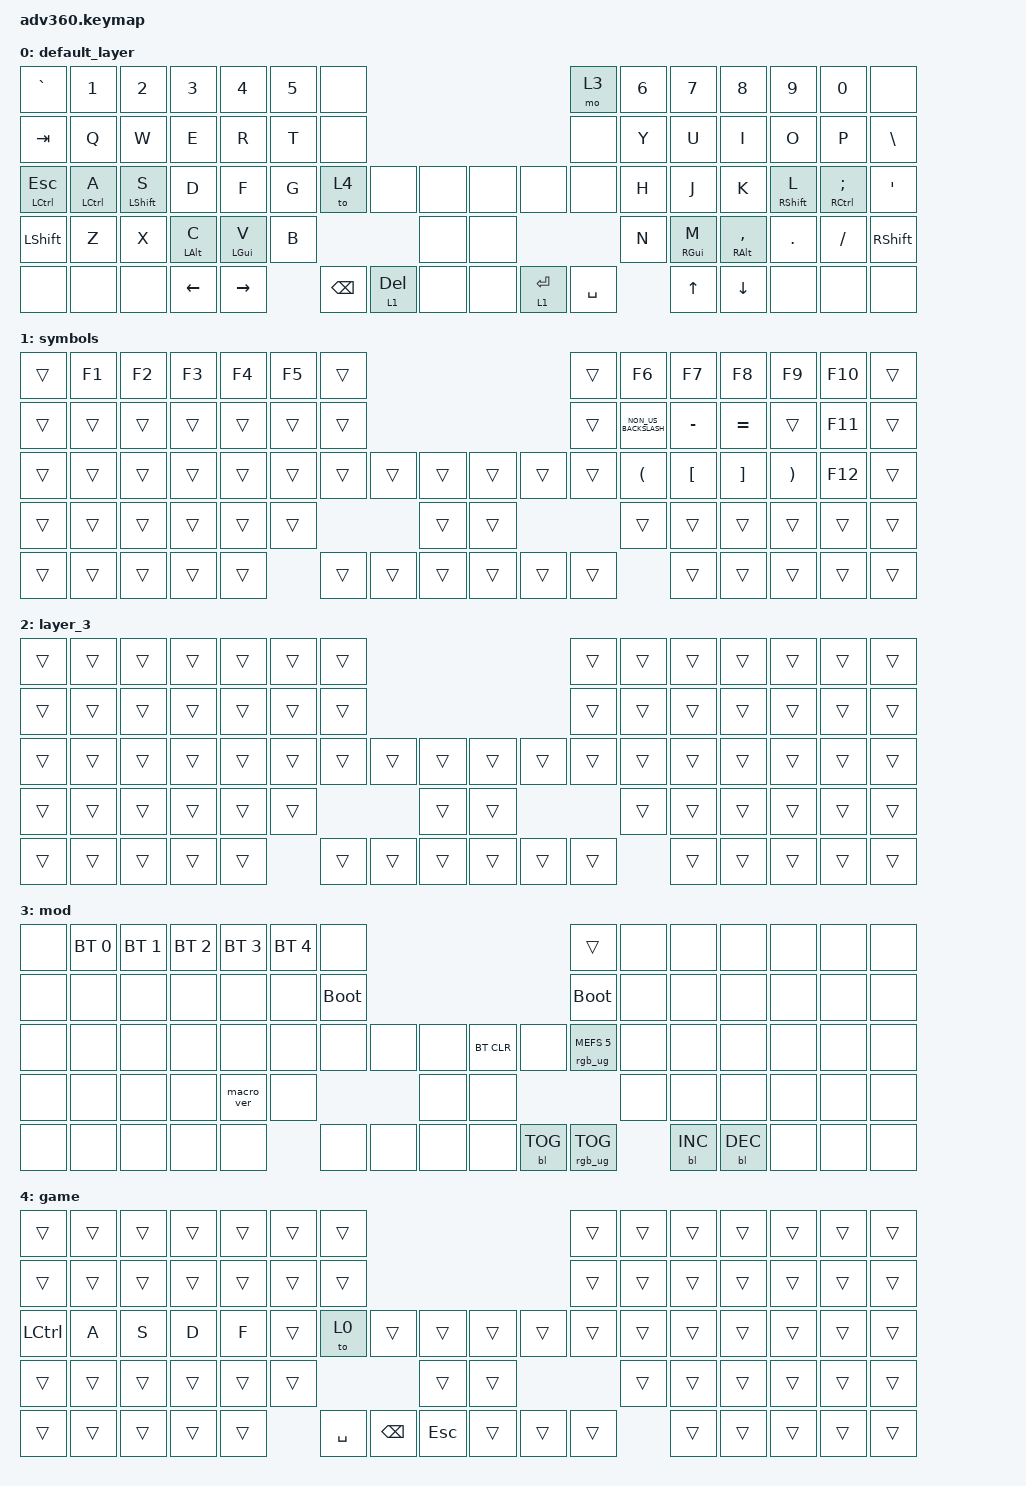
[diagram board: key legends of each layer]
#include <behaviors.dtsi>
#include <dt-bindings/zmk/backlight.h>
#include <dt-bindings/zmk/bt.h>
#include <dt-bindings/zmk/keys.h>
#include <dt-bindings/zmk/rgb.h>

/ {
    behaviors {
        #include "macros.dtsi"
      #include "version.dtsi"
      #ifndef VERSION_MACRO

        macro_ver: macro_ver {
            compatible = "zmk,behavior-macro";
            label = "macro_version";
            #binding-cells = <0>;
            bindings = <&kp RET>;
        };

        #endif

        hm: homerow_mods {
            compatible = "zmk,behavior-hold-tap";
            label = "HOMEROW_MODS";
            #binding-cells = <2>;
            tapping-term-ms = <100>;
            flavor = "tap-preferred";
            bindings = <&kp>, <&kp>;

            quick-tap-ms = <100>;
            require-prior-idle-ms = <100>;
        };

        thumb_layer: thumb_layer {
            compatible = "zmk,behavior-hold-tap";
            label = "THUMB_LAYER";
            bindings = <&mo>, <&kp>;

            #binding-cells = <2>;
            tapping-term-ms = <150>;
            flavor = "tap-preferred";
            quick-tap-ms = <150>;
            require-prior-idle-ms = <125>;
        };
    };

    macros {
    };

    keymap {
        compatible = "zmk,keymap";

        default_layer {
            bindings = <
&kp GRAVE                &kp N1              &kp N2            &kp N3          &kp N4          &kp N5  &none                                                                         &mo 3      &kp N6  &kp N7           &kp N8               &kp N9             &kp N0                  &none
&kp TAB                  &kp Q               &kp W             &kp E           &kp R           &kp T   &none                                                                         &none      &kp Y   &kp U            &kp I                &kp O              &kp P                   &kp BSLH
&mt LEFT_CONTROL ESCAPE  &hm LEFT_CONTROL A  &hm LEFT_SHIFT S  &kp D           &kp F           &kp G   &to 4          &none                  &none      &none  &none                 &none      &kp H   &kp J            &kp K                &hm RIGHT_SHIFT L  &hm RIGHT_CONTROL SEMI  &kp SQT
&kp LSHFT                &kp Z               &kp X             &hm LEFT_ALT C  &hm LEFT_GUI V  &kp B                                         &none      &none                                   &kp N   &hm RIGHT_GUI M  &hm RIGHT_ALT COMMA  &kp DOT            &kp FSLH                &kp RSHFT
&none                    &none               &none             &kp LEFT        &kp RIGHT               &kp BACKSPACE  &thumb_layer 1 DELETE  &none      &none  &thumb_layer 1 ENTER  &kp SPACE          &kp UP           &kp DOWN             &none              &none                   &none
            >;
        };

        symbols {
            bindings = <
&trans  &kp F1  &kp F2  &kp F3  &kp F4  &kp F5  &trans                                      &trans  &kp F6                &kp F7            &kp F8             &kp F9                 &kp F10  &trans
&trans  &trans  &trans  &trans  &trans  &trans  &trans                                      &trans  &kp NON_US_BACKSLASH  &kp MINUS         &kp EQUAL          &trans                 &kp F11  &trans
&trans  &trans  &trans  &trans  &trans  &trans  &trans  &trans  &trans      &trans  &trans  &trans  &kp LEFT_PARENTHESIS  &kp LEFT_BRACKET  &kp RIGHT_BRACKET  &kp RIGHT_PARENTHESIS  &kp F12  &trans
&trans  &trans  &trans  &trans  &trans  &trans                  &trans      &trans                  &trans                &trans            &trans             &trans                 &trans   &trans
&trans  &trans  &trans  &trans  &trans          &trans  &trans  &trans      &trans  &trans  &trans                        &trans            &trans             &trans                 &trans   &trans
            >;
        };

        layer_3 {
            bindings = <
&trans  &trans  &trans  &trans  &trans  &trans  &trans                                      &trans  &trans  &trans  &trans  &trans  &trans  &trans
&trans  &trans  &trans  &trans  &trans  &trans  &trans                                      &trans  &trans  &trans  &trans  &trans  &trans  &trans
&trans  &trans  &trans  &trans  &trans  &trans  &trans  &trans  &trans      &trans  &trans  &trans  &trans  &trans  &trans  &trans  &trans  &trans
&trans  &trans  &trans  &trans  &trans  &trans                  &trans      &trans                  &trans  &trans  &trans  &trans  &trans  &trans
&trans  &trans  &trans  &trans  &trans          &trans  &trans  &trans      &trans  &trans  &trans          &trans  &trans  &trans  &trans  &trans
            >;
        };

        mod {
            bindings = <
&none  &bt BT_SEL 0  &bt BT_SEL 1  &bt BT_SEL 2  &bt BT_SEL 3  &bt BT_SEL 4  &none                                                  &trans                  &none  &none       &none       &none  &none  &none
&none  &none         &none         &none         &none         &none         &bootloader                                            &bootloader             &none  &none       &none       &none  &none  &none
&none  &none         &none         &none         &none         &none         &none        &none  &none      &bt BT_CLR  &none       &rgb_ug RGB_MEFS_CMD 5  &none  &none       &none       &none  &none  &none
&none  &none         &none         &none         &macro_ver    &none                             &none      &none                                           &none  &none       &none       &none  &none  &none
&none  &none         &none         &none         &none                       &none        &none  &none      &none       &bl BL_TOG  &rgb_ug RGB_TOG                &bl BL_INC  &bl BL_DEC  &none  &none  &none
            >;
        };

        game {
            bindings = <
&trans     &trans  &trans  &trans  &trans  &trans  &trans                                                 &trans  &trans  &trans  &trans  &trans  &trans  &trans
&trans     &trans  &trans  &trans  &trans  &trans  &trans                                                 &trans  &trans  &trans  &trans  &trans  &trans  &trans
&kp LCTRL  &kp A   &kp S   &kp D   &kp F   &trans  &to 0      &trans         &trans       &trans  &trans  &trans  &trans  &trans  &trans  &trans  &trans  &trans
&trans     &trans  &trans  &trans  &trans  &trans                            &trans       &trans                  &trans  &trans  &trans  &trans  &trans  &trans
&trans     &trans  &trans  &trans  &trans          &kp SPACE  &kp BACKSPACE  &kp ESC      &trans  &trans  &trans          &trans  &trans  &trans  &trans  &trans
            >;
        };
    };
};
